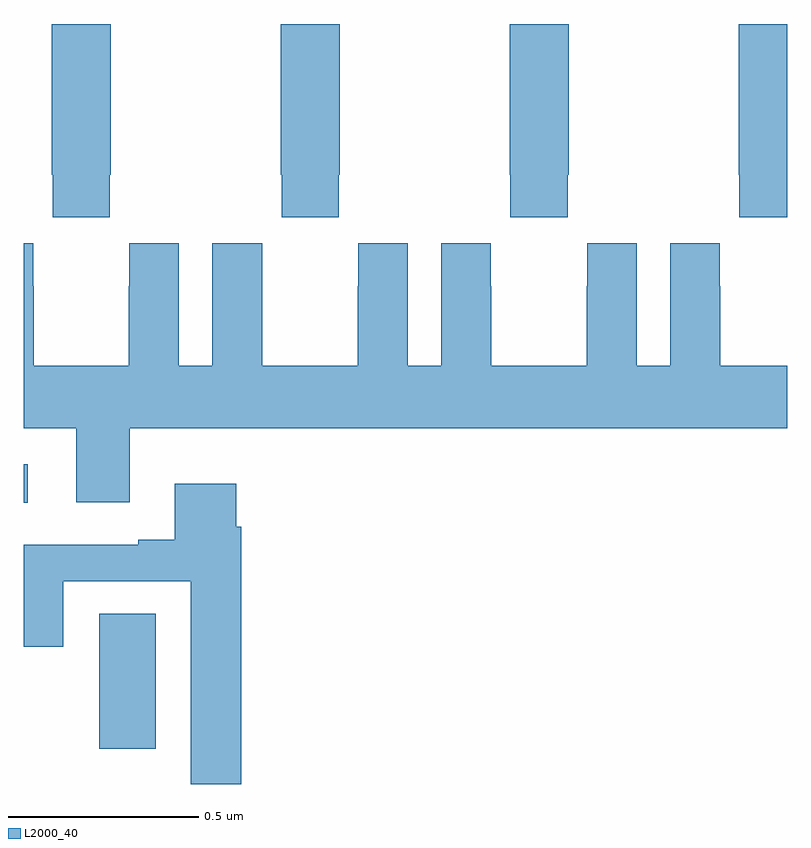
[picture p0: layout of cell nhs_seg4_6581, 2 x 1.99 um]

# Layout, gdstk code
import gdstk
lib = gdstk.Library(unit=1e-6, precision=1e-09)
def R(c, l, rs):  # rectangles x0, y0, x1, y1
    for r in rs: c.add(gdstk.rectangle(r[:2], r[2:], *l))
def P(c, l, *ps):  # polygons
    for p in ps: c.add(gdstk.Polygon(p, *l))
L2000_40 = (2000, 40)

nhs_seg4_6581 = lib.new_cell('nhs_seg4_6581')
R(nhs_seg4_6581, L2000_40, [(192.197,776.001,192.346,776.354), (192,776.645,192.01,776.746)])
P(nhs_seg4_6581, L2000_40, [(192.073,777.505),(192.075,777.505),(192.075,777.393),(192.225,777.393),(192.225,777.505),(192.228,777.505),(192.228,777.9),(192.073,777.9)],
  [(192.825,777.505),(192.828,777.505),(192.828,777.9),(192.673,777.9),(192.673,777.505),(192.675,777.505),(192.675,777.393),(192.825,777.393)],
  [(193.425,777.505),(193.428,777.505),(193.428,777.9),(193.273,777.9),(193.273,777.505),(193.275,777.505),(193.275,777.393),(193.425,777.393)],
  [(194,777.9),(193.873,777.9),(193.873,777.505),(193.875,777.505),(193.875,777.393),(194,777.393)],
  [(192,777.325),(192,776.84),(192.137,776.84),(192.137,776.646),(192.277,776.646),(192.277,776.84),(194,776.84),(194,777.004),(193.825,777.004),(193.825,777.212),(193.824,777.212),(193.824,777.325),(193.694,777.325),(193.694,777.004),(193.606,777.004),(193.606,777.325),(193.476,777.325),(193.476,777.212),(193.475,777.212),(193.475,777.004),(193.225,777.004),(193.225,777.212),(193.224,777.212),(193.224,777.325),(193.094,777.325),(193.094,777.004),(193.006,777.004),(193.006,777.325),(192.876,777.325),(192.876,777.212),(192.875,777.212),(192.875,777.004),(192.625,777.004),(192.625,777.212),(192.624,777.212),(192.624,777.325),(192.494,777.325),(192.494,777.004),(192.406,777.004),(192.406,777.325),(192.276,777.325),(192.276,777.212),(192.275,777.212),(192.275,777.004),(192.025,777.004),(192.025,777.212),(192.024,777.212),(192.024,777.325)],
  [(192.569,776.582),(192.556,776.582),(192.556,776.695),(192.395,776.695),(192.395,776.548),(192.299,776.548),(192.299,776.535),(192,776.535),(192,776.268),(192.103,776.268),(192.103,776.439),(192.437,776.439),(192.437,775.908),(192.569,775.908)])

lib.write_gds('nhs_seg4_6581.gds')
